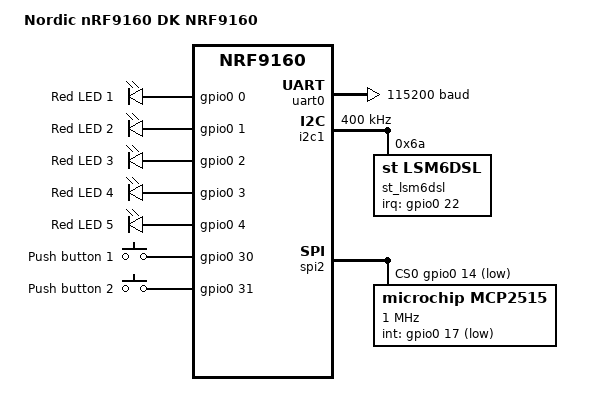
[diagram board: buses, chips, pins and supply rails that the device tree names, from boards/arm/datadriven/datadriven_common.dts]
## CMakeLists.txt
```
#
# Copyright (c) 2019 Nordic Semiconductor
#
# SPDX-License-Identifier: LicenseRef-Nordic-5-Clause
#

cmake_minimum_required(VERSION 3.20.0)

find_package(Zephyr REQUIRED HINTS $ENV{ZEPHYR_BASE})
project(datadriven_tracker)

target_sources(app PRIVATE src/main.c)
```

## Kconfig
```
menu "DataDriven Tracker"

config GNSS_PERIODIC_INTERVAL
	int "Fix interval for periodic GPS fixes"
	range 10 65535
	default 120
	help
	  Fix interval (in seconds) for periodic fixes.

config GNSS_PERIODIC_TIMEOUT
	int "Fix timeout for periodic GPS fixes"
	range 0 65535
	default 480
	help
	  Fix timeout (in seconds) for periodic fixes.
	  If set to zero, GNSS is allowed to run indefinitely until a valid PVT estimate is produced.

endmenu

menu "Zephyr Kernel"
source "Kconfig.zephyr"
endmenu
```

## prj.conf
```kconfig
# Logging
CONFIG_LOG=y
# CONFIG_LOG_MODE_IMMEDIATE=y

# Button and LED support
CONFIG_DK_LIBRARY=y

# Newlib
CONFIG_NEWLIB_LIBC=y
# STEP 2.2 - Enable printing of floating-points
CONFIG_NEWLIB_LIBC_FLOAT_PRINTF=y
CONFIG_FPU=y

# Network
CONFIG_NETWORKING=y
CONFIG_NET_NATIVE=n
CONFIG_NET_SOCKETS=y
CONFIG_NET_SOCKETS_OFFLOAD=y
CONFIG_NET_SOCKETS_POSIX_NAMES=y

# Memory
CONFIG_HEAP_MEM_POOL_SIZE=4096
CONFIG_MAIN_STACK_SIZE=4096

# Modem library
CONFIG_NRF_MODEM_LIB=y

# LTE link control
CONFIG_LTE_LINK_CONTROL=y
CONFIG_LTE_AUTO_INIT_AND_CONNECT=n
CONFIG_LTE_NETWORK_MODE_LTE_M_NBIOT_GPS=y
# STEP 7.1 - Request eDRX from the network
CONFIG_LTE_EDRX_REQ=y
# STEP 7.2 - Request PSM periodic TAU and active time
CONFIG_LTE_PSM_REQ_RPTAU="00101000"
CONFIG_LTE_PSM_REQ_RAT="00001000"

CONFIG_GNSS_PERIODIC_INTERVAL=10

CONFIG_SPI=y
CONFIG_CAN=y
CONFIG_CAN_INIT_PRIORITY=80
CONFIG_CAN_MAX_FILTER=5
CONFIG_CAN_MCP2515=y

CONFIG_I2C=y
CONFIG_SENSOR=y
CONFIG_LSM6DSL=y
```

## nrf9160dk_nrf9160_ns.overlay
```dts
// To get started, press Ctrl+Space to bring up the completion menu and view the available nodes.

// You can also use the buttons in the sidebar to perform actions on nodes.
// Actions currently available include:

// * Enabling / disabling the node
// * Adding the bus to a bus
// * Removing the node
// * Connecting ADC channels

// For more help, browse the DeviceTree documentation at https://docs.zephyrproject.org/latest/guides/dts/index.html
// You can also visit the nRF DeviceTree extension documentation at https://nrfconnect.github.io/vscode-nrf-connect/devicetree/nrfdevicetree.html
// ARDUINO SPI USES SPI3
// SCK P0.13
// MISO P0.12
// MOSI P0.11
// CS P0.10
// INT P0.16
&i2c3 {
	status = "disabled";
};
&uart3 {
	status = "disabled";
};
&spi3 {
	status = "okay";
};
&arduino_spi {
	status = "okay";
	cs-gpios = <&gpio0 10 GPIO_ACTIVE_LOW>;  /* P0.10 */

	mcp2515: can@0 {
		compatible = "microchip,mcp2515";
		spi-max-frequency = <1000000>;
		int-gpios = <&gpio0 16 GPIO_ACTIVE_LOW>; /* P0.16 */
		status = "okay";
		reg = <0x0>;
		osc-freq = <16000000>;
		bus-speed = <500000>;
		sjw = <1>;
		sample-point = <875>;

		can-transceiver {
			max-bitrate = <1000000>;
		};
	};
};

// ARDUINO I2C USES I2C2
// SDA P0.30
// SCL P0.31
// INT P0.17
&uart2 {
	status = "disabled";
};
&spi2 {
	status = "disabled";
};
&i2c2 {
	status = "okay";
};
&arduino_i2c {
	status = "okay";
	mpu6050: mpu6050@68 {
		compatible = "invensense,mpu6050";
		reg = <0x68>;
		status = "okay";
		int-gpios = <&gpio0 17 GPIO_ACTIVE_HIGH>;
	};
};
/ {
	chosen {
		zephyr,canbus = &mcp2515;
		zephyr,mpu6050 = &mpu6050;
	};
};
```

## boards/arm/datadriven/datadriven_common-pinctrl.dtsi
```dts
/*
 * Copyright (c) 2022 Nordic Semiconductor
 * SPDX-License-Identifier: Apache-2.0
 */

&pinctrl {
	uart0_default: uart0_default {
		group1 {
			psels = <NRF_PSEL(UART_TX, 0, 28)>,
				<NRF_PSEL(UART_RTS, 0, 27)>;
		};
		group2 {
			psels = <NRF_PSEL(UART_RX, 0, 29)>,
				<NRF_PSEL(UART_CTS, 0, 26)>;
			bias-pull-up;
		};
	};
	uart0_sleep: uart0_sleep {
		group1 {
			psels = <NRF_PSEL(UART_TX, 0, 28)>,
				<NRF_PSEL(UART_RX, 0, 29)>,
				<NRF_PSEL(UART_RTS, 0, 27)>,
				<NRF_PSEL(UART_CTS, 0, 26)>;
			low-power-enable;
		};
	};

	i2c1_default: i2c1_default {
		group1 {
			psels = <NRF_PSEL(TWIM_SDA, 0, 24)>,
				<NRF_PSEL(TWIM_SCL, 0, 23)>;
		};
	};

	i2c1_sleep: i2c1_sleep {
		group1 {
			psels = <NRF_PSEL(TWIM_SDA, 0, 24)>,
				<NRF_PSEL(TWIM_SCL, 0, 23)>;
			low-power-enable;
		};
	};

	spi2_default: spi2_default {
		group1 {
			psels = <NRF_PSEL(SPIM_SCK, 0, 13)>,
				<NRF_PSEL(SPIM_MISO, 0, 16)>,
				<NRF_PSEL(SPIM_MOSI, 0, 15)>;
		};
	};

	spi2_sleep: spi2_sleep {
		group1 {
			psels = <NRF_PSEL(SPIM_SCK, 0, 13)>,
				<NRF_PSEL(SPIM_MISO, 0, 16)>,
				<NRF_PSEL(SPIM_MOSI, 0, 15)>;
			low-power-enable;
		};
	};
};
```

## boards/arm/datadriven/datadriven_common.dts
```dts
/*
 * Copyright (c) 2018-2020 Nordic Semiconductor ASA
 *
 * SPDX-License-Identifier: Apache-2.0
 */
#include "datadriven_common-pinctrl.dtsi"

/ {
	model = "Nordic nRF9160 DK NRF9160";
	compatible = "nordic,nrf9160-dk-nrf9160";

	chosen {
		zephyr,console = &uart0;
		zephyr,shell-uart = &uart0;
		zephyr,uart-mcumgr = &uart0;
		zephyr,canbus = &mcp2515;
		zephyr,imu = &st_lsm6dsl;
	};

	leds {
		compatible = "gpio-leds";
		led0: led_0 {
			gpios = <&gpio0 0 0>;
			label = "Red LED 1";
		};
		led1: led_1 {
			gpios = <&gpio0 1 0>;
			label = "Red LED 2";
		};
		led2: led_2 {
			gpios = <&gpio0 2 0>;
			label = "Red LED 3";
		};
		led3: led_3 {
			gpios = <&gpio0 3 0>;
			label = "Red LED 4";
		};
		led4: led_4 {
			gpios = <&gpio0 4 0>;
			label = "Red LED 5";
		};
	};

	buttons {
		compatible = "gpio-keys";
		button0: button_0 {
			gpios = <&gpio0 30 (GPIO_PULL_DOWN | GPIO_ACTIVE_HIGH)>;
			label = "Push button 1";
		};
		button1: button_1 {
			gpios = <&gpio0 31 (GPIO_PULL_DOWN | GPIO_ACTIVE_HIGH)>;
			label = "Push button 2";
		};
	};

	aliases {
		led0 = &led0;
		led1 = &led1;
		led2 = &led2;
		led3 = &led3;
		led4 = &led4;
		sw0 = &button0;
		sw1 = &button1;
		bootloader-led0 = &led0;
		mcuboot-button0 = &button0;
		mcuboot-led0 = &led0;
		watchdog0 = &wdt0;
	};
};

&gpiote {
	status = "okay";
};

&gpio0 {
	status = "okay";
};

&uart0 {
	status = "okay";
	current-speed = <115200>;
	pinctrl-0 = <&uart0_default>;
	pinctrl-1 = <&uart0_sleep>;
	pinctrl-names = "default", "sleep";
};

&i2c1 {
	compatible = "nordic,nrf-twim";
	status = "okay";
	pinctrl-0 = <&i2c1_default>;
	pinctrl-1 = <&i2c1_sleep>;
	pinctrl-names = "default", "sleep";
	clock-frequency = < I2C_BITRATE_FAST >;
	st_lsm6dsl: st_lsm6dsl@6a {
		compatible = "st,lsm6dsl";
		reg = <0x6a>;
		irq-gpios = <&gpio0 22 GPIO_ACTIVE_HIGH>;
	};
};

&spi2 {
	compatible = "nordic,nrf-spim";
	status = "okay";
	cs-gpios = <&gpio0 14 GPIO_ACTIVE_LOW>;
	pinctrl-0 = <&spi2_default>;
	pinctrl-1 = <&spi2_sleep>;
	pinctrl-names = "default", "sleep";

	mcp2515: can@0 {
		compatible = "microchip,mcp2515";
		spi-max-frequency = <1000000>;
		int-gpios = <&gpio0 17 GPIO_ACTIVE_LOW>;
		status = "okay";
		reg = <0x0>;
		osc-freq = <8000000>;
		bus-speed = <500000>;
		sjw = <1>;
		sample-point = <875>;

		can-transceiver {
			max-bitrate = <1000000>;
		};
	};
};

// &timer0 {
// 	status = "okay";
// };

// &timer1 {
// 	status = "okay";
// };

// &timer2 {
// 	status = "okay";
// };

&flash0 {

	partitions {
		compatible = "fixed-partitions";
		#address-cells = <1>;
		#size-cells = <1>;

		boot_partition: partition@0 {
			label = "mcuboot";
			reg = <0x00000000 0x10000>;
		};
		slot0_partition: partition@10000 {
			label = "image-0";
		};
		slot0_ns_partition: partition@50000 {
			label = "image-0-nonsecure";
		};
		slot1_partition: partition@80000 {
			label = "image-1";
		};
		slot1_ns_partition: partition@c0000 {
			label = "image-1-nonsecure";
		};
		scratch_partition: partition@f0000 {
			label = "image-scratch";
			reg = <0x000f0000 0xa000>;
		};
		storage_partition: partition@fa000 {
			label = "storage";
			reg = <0x000fa000 0x00006000>;
		};
	};
};

/ {

	reserved-memory {
		#address-cells = <1>;
		#size-cells = <1>;
		ranges;

		sram0_s: image_s@20000000 {
			/* Secure image memory */
		};

		sram0_modem: image_modem@20016000 {
			/* Modem (shared) memory */
		};

		sram0_ns: image_ns@20020000 {
			/* Non-Secure image memory */
		};
	};
};

/* Include partition configuration file */
#include "datadriven_partition_conf.dts"
```

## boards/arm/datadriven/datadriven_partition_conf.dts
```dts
/*
 * Copyright (c) 2018-2020 Nordic Semiconductor ASA
 *
 * SPDX-License-Identifier: Apache-2.0
 */

/*
 * Default Flash planning for datadriven.
 *
 * Zephyr build for nRF9160 with ARM TrustZone-M support,
 * implies building Secure and Non-Secure Zephyr images.
 *
 * Secure image will be placed, by default, in flash0
 * (or in slot0, if MCUboot is present).
 * Secure image will use sram0 for system memory.
 *
 * Non-Secure image will be placed in slot0_ns, and use
 * sram0_ns for system memory.
 *
 * Note that the Secure image only requires knowledge of
 * the beginning of the Non-Secure image (not its size).
 */

&slot0_partition {
	reg = <0x00010000 0x40000>;
};

&slot0_ns_partition {
	reg = <0x00050000 0x30000>;
};

&slot1_partition {
	reg = <0x00080000 0x40000>;
};

&slot1_ns_partition {
	reg = <0x000c0000 0x30000>;
};

/* Default SRAM planning when building for nRF9160 with
 * ARM TrustZone-M support
 * - Lowest 88 kB SRAM allocated to Secure image (sram0_s).
 * - 40 kB SRAM reserved for and used by the modem library
 *   (sram0_modem). This memory is Non-Secure.
 * - Upper 128 kB allocated to Non-Secure image (sram0_ns).
 *   When building with TF-M, both sram0_modem and sram0_ns
 *   are allocated to the Non-Secure image.
 */

&sram0_s {
	reg = <0x20000000 DT_SIZE_K(88)>;
};

&sram0_modem {
	reg = <0x20016000 DT_SIZE_K(40)>;
};

&sram0_ns {
	reg = <0x20020000 DT_SIZE_K(128)>;
};
```

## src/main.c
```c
/*
 * Copyright (c) 2022 Nordic Semiconductor ASA
 *
 * SPDX-License-Identifier: LicenseRef-Nordic-5-Clause
 */

#include <stdio.h>
#include <zephyr/kernel.h>
#include <zephyr/net/socket.h>

#include <zephyr/logging/log.h>
#include <modem/lte_lc.h>
#include <nrf_modem_gnss.h>

#define SERVER_HOSTNAME "api.datadrivenucsb.com"
#define SERVER_PORT "65432"

static struct nrf_modem_gnss_pvt_data_frame pvt_data;

static int64_t gnss_start_time;
static bool first_fix = false;

static int sock;
static struct sockaddr_storage server;

static K_SEM_DEFINE(lte_connected, 0, 1);

LOG_MODULE_REGISTER(DataDriven, LOG_LEVEL_ERR);

#include "functions.h"

static K_SEM_DEFINE(gnss_ready, 0, 1);


static uint8_t udp_data[512];
static uint16_t current_msg_size = 0;

static uint8_t gnss_data[100];
static uint16_t gnss_size = 0;

static uint8_t vehicle_data[512];
static uint16_t vehicle_size = 0;

static int server_resolve(void)
{
	int err;
	struct addrinfo *result;
	struct addrinfo hints = {
		.ai_family = AF_INET,
		.ai_socktype = SOCK_DGRAM
	};
	
	err = getaddrinfo(SERVER_HOSTNAME, SERVER_PORT, &hints, &result);
	if (err != 0) {
		LOG_INF("ERROR: getaddrinfo failed %d", err);
		return -EIO;
	}

	if (result == NULL) {
		LOG_INF("ERROR: Address not found");
		return -ENOENT;
	}

	struct sockaddr_in *server4 = ((struct sockaddr_in *)&server);

	server4->sin_addr.s_addr = ((struct sockaddr_in *)result->ai_addr)->sin_addr.s_addr;
	server4->sin_family = AF_INET;
	server4->sin_port = ((struct sockaddr_in *)result->ai_addr)->sin_port;
	
	char ipv4_addr[NET_IPV4_ADDR_LEN];
	inet_ntop(AF_INET, &server4->sin_addr.s_addr, ipv4_addr, sizeof(ipv4_addr));
	LOG_INF("IPv4 Address found %s", ipv4_addr);
	
	freeaddrinfo(result);

	return 0;
}

static int server_connect(void)
{
	int err;
	sock = socket(AF_INET, SOCK_DGRAM, IPPROTO_UDP);
	if (sock < 0) {
		LOG_ERR("Failed to create socket: %d.", errno);
		return -errno;
	}

	err = connect(sock, (struct sockaddr *)&server, sizeof(struct sockaddr_in));
	if (err < 0) {
		LOG_ERR("Connect failed : %d", errno);
		return -errno;
	}
	LOG_INF("Successfully connected to server");

	return 0;
}

static void lte_handler(const struct lte_lc_evt *const evt)
{
	switch (evt->type) {
	case LTE_LC_EVT_NW_REG_STATUS:
		if ((evt->nw_reg_status != LTE_LC_NW_REG_REGISTERED_HOME) &&
			(evt->nw_reg_status != LTE_LC_NW_REG_REGISTERED_ROAMING)) {
			break;
		}
		LOG_INF("Network registration status: %s", evt->nw_reg_status == LTE_LC_NW_REG_REGISTERED_HOME ? "Connected - home network" : "Connected - roaming");
		k_sem_give(&lte_connected);
		break;	
	case LTE_LC_EVT_RRC_UPDATE:
		LOG_INF("RRC mode: %s",  evt->rrc_mode == LTE_LC_RRC_MODE_CONNECTED ? "Connected" : "Idle");
		break;
	/* STEP 9.1 - On event PSM update, print PSM paramters and check if was enabled */
	case LTE_LC_EVT_PSM_UPDATE:
		LOG_INF("PSM parameter update: Periodic TAU: %d s, Active time: %d s", evt->psm_cfg.tau, evt->psm_cfg.active_time);
		if (evt->psm_cfg.active_time == -1){
			LOG_ERR("Network rejected PSM parameters. Failed to setup network");
		}
		break;
	/* STEP 9.2 - On event eDRX update, print eDRX paramters */
	case LTE_LC_EVT_EDRX_UPDATE:
		LOG_INF("eDRX parameter update: eDRX: %f, PTW: %f", evt->edrx_cfg.edrx, evt->edrx_cfg.ptw);
		break;
	default:
		break;
	}
}

static void modem_configure(void)
{
	int err;
	
	/* STEP 8 - Request PSM and eDRX from the network */
	err = lte_lc_psm_req(true);
	if (err) {
		LOG_ERR("lte_lc_psm_req, error: %d", err);
	} 
	err = lte_lc_edrx_req(true);
	if (err) {
		LOG_ERR("lte_lc_edrx_req, error: %d", err);
	}

	LOG_INF("Connecting to LTE network");

	err = lte_lc_init_and_connect_async(lte_handler);
	if (err) {
		LOG_ERR("Modem could not be configured, error: %d", err);
		return;
	}
	k_sem_take(&lte_connected, K_FOREVER);
	LOG_INF("Connected to LTE network");
}

static void print_fix_data(struct nrf_modem_gnss_pvt_data_frame *pvt_data)
{
	LOG_INF("Latitude:       %.06f", pvt_data->latitude);
	LOG_INF("Longitude:      %.06f", pvt_data->longitude);
	LOG_INF("Altitude:       %.01f m", pvt_data->altitude);
	LOG_INF("Time (UTC):     %02u:%02u:%02u.%03u",
	       pvt_data->datetime.hour,
	       pvt_data->datetime.minute,
	       pvt_data->datetime.seconds,
	       pvt_data->datetime.ms);
	
	
	union {
		double d;
		uint8_t b[8];
	} lat, lon;

	union {
		float f;
		uint8_t b[4];
	} alt, speed, vertical_speed, heading;

	lat.d = pvt_data->latitude;
	lon.d = pvt_data->longitude;
	alt.f = pvt_data->altitude;
	speed.f = pvt_data->speed;
	vertical_speed.f = pvt_data->vertical_speed;
	heading.f = pvt_data->heading;
	
	/* STEP 3.2 - Store latitude and longitude in gnss_data buffer */
	snprintf(gnss_data, sizeof(gnss_data), "%s %s %04u-%02u-%02u %02u:%02u:%02u ",
													system_state.VIN, system_state.IMEI,
													pvt_data->datetime.year, pvt_data->datetime.month, pvt_data->datetime.day,
													pvt_data->datetime.hour, pvt_data->datetime.minute, pvt_data->datetime.seconds);
	gnss_size = strlen(gnss_data);
	memcpy(gnss_data + gnss_size, lat.b, 8);
	gnss_size += 8;
	memcpy(gnss_data + gnss_size, lon.b, 8);
	gnss_size += 8;
	memcpy(gnss_data + gnss_size, alt.b, 4);
	gnss_size += 4;
	memcpy(gnss_data + gnss_size, speed.b, 4);
	gnss_size += 4;
	memcpy(gnss_data + gnss_size, vertical_speed.b, 4);
	gnss_size += 4;
	memcpy(gnss_data + gnss_size, heading.b, 4);
	gnss_size += 4;
}

static void gnss_event_handler(int event)
{
	int err, num_satellites;

	switch (event) {
	case NRF_MODEM_GNSS_EVT_PVT:
		num_satellites = 0;
		for (int i = 0; i < 12 ; i++) {
			if (pvt_data.sv[i].signal != 0) {
				num_satellites++;
			}	
		}
		if (!first_fix) {
			printk("[%2.1lld s] Searching. Current satellites: %d\n", (k_uptime_get())/1000, num_satellites);
		}
		err = nrf_modem_gnss_read(&pvt_data, sizeof(pvt_data), NRF_MODEM_GNSS_DATA_PVT);
		if (err) {
			LOG_ERR("nrf_modem_gnss_read failed, err %d", err);
			return;
		}
		if (pvt_data.flags & NRF_MODEM_GNSS_PVT_FLAG_FIX_VALID) {
			print_fix_data(&pvt_data);
			if (!first_fix) {
				printk("Time to first fix: %2.1lld s\n", (k_uptime_get() - gnss_start_time)/1000);
				first_fix = true;
			}
			return;
		} 
		/* STEP 5 - Check for the flags indicating GNSS is blocked */		
		if (pvt_data.flags & NRF_MODEM_GNSS_PVT_FLAG_DEADLINE_MISSED) {
			LOG_INF("GNSS blocked by LTE activity");
		} else if (pvt_data.flags & NRF_MODEM_GNSS_PVT_FLAG_NOT_ENOUGH_WINDOW_TIME) {
			LOG_INF("Insufficient GNSS time windows");
		}
		break;

	case NRF_MODEM_GNSS_EVT_PERIODIC_WAKEUP:
		LOG_INF("GNSS has woken up");
		gpio_pin_set_dt(&system_state.leds[0], 1);
		break;
	case NRF_MODEM_GNSS_EVT_SLEEP_AFTER_FIX:
		LOG_INF("GNSS enter sleep after fix");
		k_sem_give(&gnss_ready);
		gpio_pin_set_dt(&system_state.leds[0], 0);
		break;		
	default:
		break;
	}
}

static int gnss_init_and_start(void)
{
	gpio_pin_set_dt(&system_state.leds[0], 1);
	/* STEP 4 - Set the modem mode to normal */
	if (lte_lc_func_mode_set(LTE_LC_FUNC_MODE_NORMAL) != 0) {
		LOG_ERR("Failed to activate GNSS functional mode");
		return -1;
	}

	if (nrf_modem_gnss_event_handler_set(gnss_event_handler) != 0) {
		LOG_ERR("Failed to set GNSS event handler");
		return -1;
	}

	if (nrf_modem_gnss_fix_interval_set(CONFIG_GNSS_PERIODIC_INTERVAL) != 0) {
		LOG_ERR("Failed to set GNSS fix interval");
		return -1;
	}

	if (nrf_modem_gnss_fix_retry_set(CONFIG_GNSS_PERIODIC_TIMEOUT) != 0) {
		LOG_ERR("Failed to set GNSS fix retry");
		return -1;
	}

	LOG_INF("Starting GNSS");
	if (nrf_modem_gnss_start() != 0) {
		LOG_ERR("Failed to start GNSS");
		return -1;
	}

	gnss_start_time = k_uptime_get();

	return 0;
}

void main(void)
{
	modem_configure();
	setup_GPIO();
	get_ID();

	if (server_resolve() != 0) {
		LOG_INF("Failed to resolve server name");
		return;
	}
	
	if (server_connect() != 0) {
		LOG_INF("Failed to initialize client");
		return;
	}

	if (gnss_init_and_start() != 0) {
		LOG_ERR("Failed to initialize and start GNSS");
		return;
	}

	int can_ret;
	obd_state.PID_supported[0x00] = BOTH;
	obd_state.standard_frame.data[0] = 0x02;
	obd_state.standard_frame.data[1] = 0x01;
	obd_state.extended_frame.data[0] = 0x02;
	obd_state.extended_frame.data[1] = 0x01;
	for (uint8_t checkPID = 0x00; checkPID < 0xFF && obd_state.PID_supported[checkPID] != UNSUPPORTED; checkPID += 0x20)
	{
		if ((obd_state.PID_supported[checkPID] & STANDARD) == STANDARD) {
			obd_state.standard_frame.data[2] = checkPID;
			can_ret = can_send(obd_state.device, &obd_state.standard_frame, K_MSEC(500), can_tx_callback, "Requesting Standard PID");
		}
		if ((obd_state.PID_supported[checkPID] & EXTENDED) == EXTENDED) {
			obd_state.extended_frame.data[2] = checkPID;
			can_ret = can_send(obd_state.device, &obd_state.extended_frame, K_MSEC(500), can_tx_callback, "Requesting Extended PID");
		}
		while ((can_ret = k_msgq_get(&obd_msgq, &obd_state.response_frame, K_MSEC(100))) == 0) { // can reduce K_MSEC() to very low, NO_WAIT is too fast
			for (int i = 0; i < 8; i++)
			{
				if (obd_state.response_frame.data[3] & (1 << i))
				{
					obd_state.PID_supported[checkPID + (8 - i)] |=  ((obd_state.response_frame.flags & CAN_FRAME_IDE) == CAN_FRAME_IDE) ? EXTENDED : STANDARD;
				}
				if (obd_state.response_frame.data[4] & (1 << i))
				{
					obd_state.PID_supported[checkPID + (16 - i)] |= ((obd_state.response_frame.flags & CAN_FRAME_IDE) == CAN_FRAME_IDE) ? EXTENDED : STANDARD;
				}
				if (obd_state.response_frame.data[5] & (1 << i))
				{
					obd_state.PID_supported[checkPID + (24 - i)] |= ((obd_state.response_frame.flags & CAN_FRAME_IDE) == CAN_FRAME_IDE) ? EXTENDED : STANDARD;
				}
				if (obd_state.response_frame.data[6] & (1 << i))
				{
					obd_state.PID_supported[checkPID + (32 - i)] |= ((obd_state.response_frame.flags & CAN_FRAME_IDE) == CAN_FRAME_IDE) ? EXTENDED : STANDARD;
				}
			}
		}
	}
	printf("PIDs Available:");
	for (int i = 0; i < 256; i++)
	{
		if (obd_state.PID_supported[i] != UNSUPPORTED)
		{
			printf(" %02X,", i);
		}
	}
	printf("\n");

	while (true) {
		if (k_sem_take(&gnss_ready, K_NO_WAIT) == 0) {
			memcpy(udp_data, gnss_data, gnss_size);
			current_msg_size = gnss_size;
			gpio_pin_set_dt(&system_state.leds[1], 1);
			memcpy(udp_data + current_msg_size, vehicle_data, vehicle_size);
			current_msg_size += vehicle_size;

			int err = send(sock, &udp_data, current_msg_size, 0);
			if (err < 0) {
				LOG_INF("Failed to send message, %d", errno);
				return;
			} else {
				printk("[%2.1lld s] Data (%d bytes) sent to %s:%s\n", (k_uptime_get())/1000, current_msg_size, SERVER_HOSTNAME, SERVER_PORT);
			}
			gpio_pin_set_dt(&system_state.leds[1], 0);
		} else {
			gpio_pin_set_dt(&system_state.leds[2], 1);
			vehicle_size = 0;
			// get IMU data
			sensor_sample_fetch_chan(imu_state.device, SENSOR_CHAN_ACCEL_XYZ);
			sensor_channel_get(imu_state.device, SENSOR_CHAN_ACCEL_X, &imu_state.raw_accel_x);
			sensor_channel_get(imu_state.device, SENSOR_CHAN_ACCEL_Y, &imu_state.raw_accel_y);
			sensor_channel_get(imu_state.device, SENSOR_CHAN_ACCEL_Z, &imu_state.raw_accel_z);

			sensor_sample_fetch_chan(imu_state.device, SENSOR_CHAN_GYRO_XYZ);
			sensor_channel_get(imu_state.device, SENSOR_CHAN_GYRO_X, &imu_state.raw_gyro_x);
			sensor_channel_get(imu_state.device, SENSOR_CHAN_GYRO_Y, &imu_state.raw_gyro_y);
			sensor_channel_get(imu_state.device, SENSOR_CHAN_GYRO_Z, &imu_state.raw_gyro_z);
			imu_state.accel_x.f = out_ev(&imu_state.raw_accel_x);
			imu_state.accel_y.f = out_ev(&imu_state.raw_accel_y);
			imu_state.accel_z.f = out_ev(&imu_state.raw_accel_z);
			imu_state.gyro_x.f = out_ev(&imu_state.raw_gyro_x);
			imu_state.gyro_y.f = out_ev(&imu_state.raw_gyro_y);
			imu_state.gyro_z.f = out_ev(&imu_state.raw_gyro_z);

			memcpy(vehicle_data + vehicle_size, imu_state.accel_x.b, 4);
			vehicle_size += 4;
			memcpy(vehicle_data + vehicle_size, imu_state.accel_y.b, 4);
			vehicle_size += 4;
			memcpy(vehicle_data + vehicle_size, imu_state.accel_z.b, 4);
			vehicle_size += 4;
			memcpy(vehicle_data + vehicle_size, imu_state.gyro_x.b, 4);
			vehicle_size += 4;
			memcpy(vehicle_data + vehicle_size, imu_state.gyro_y.b, 4);
			vehicle_size += 4;
			memcpy(vehicle_data + vehicle_size, imu_state.gyro_z.b, 4);
			vehicle_size += 4;

			// get vehicle data
			// printf("BEGIN VEHICLE DATA FETCH\n");
			for (uint8_t currentPID = 0x00; currentPID < 0xFF; currentPID++) {
				if (currentPID % 0x20 == 0) {
					continue;
				}
				if ((obd_state.PID_supported[currentPID] & STANDARD) == STANDARD) {
					obd_state.standard_frame.data[2] = currentPID;
					can_send(obd_state.device, &obd_state.standard_frame, K_MSEC(500), can_tx_callback, "Standard frame");
				}
				if ((obd_state.PID_supported[currentPID] & EXTENDED) == EXTENDED) {
					obd_state.extended_frame.data[2] = currentPID;
					can_send(obd_state.device, &obd_state.extended_frame, K_MSEC(500), can_tx_callback, "Extended frame");
				}
				if (obd_state.PID_supported[currentPID] != UNSUPPORTED) {
					// printf("\tRequested PID %02X\tResponse:", currentPID);
					int MFL = 0; // for multi frames
					while ((can_ret = k_msgq_get(&obd_msgq, &obd_state.response_frame, K_MSEC(500))) == 0) {
						if ((obd_state.response_frame.data[0] & 0x10) == 0x10) { // First Frame
							if ((obd_state.response_frame.flags & CAN_FRAME_IDE) == CAN_FRAME_IDE)
							{
								obd_state.extended_frame_flow.id = (obd_state.response_frame.id & 0xFFFF0000) |
													((obd_state.response_frame.id & 0xFF) << 8) |
													((obd_state.response_frame.id & 0xFF00) >> 8);
								can_ret = can_send(obd_state.device, &obd_state.extended_frame_flow, K_MSEC(100), can_tx_callback, "Sending Flow Control through Extended");
							}
							else
							{
								obd_state.standard_frame_flow.id = obd_state.response_frame.id - 8;
								can_ret = can_send(obd_state.device, &obd_state.standard_frame_flow, K_MSEC(100), can_tx_callback, "Sending Flow Control through Standard");
							}
							// MFL = (obd_state.response_frame.data[0] & 0xF) << 8 | obd_state.response_frame.data[1];
							MFL = obd_state.response_frame.data[1];
							// printf(" %02X", MFL);
							udp_data[current_msg_size] = MFL;
							current_msg_size++;
							// for (int i = 2; i < 8; i++) {
							// 	printf(" %02X", obd_state.response_frame.data[i]);
							// }
							memcpy(vehicle_data + vehicle_size, obd_state.response_frame.data + 2, 6);
							vehicle_size += 6;
							MFL -= 6;
						}
						else if ((obd_state.response_frame.data[0] & 0x20) == 0x20) { // consecutive frames
							int bytesToGet = Z_MIN(MFL, 7);
							// for (int i = 1; i < bytesToGet + 1; i++) {
							// 	printf(" %02X", obd_state.response_frame.data[i]);
							// }
							memcpy(vehicle_data + vehicle_size, obd_state.response_frame.data + 1, bytesToGet);
							vehicle_size += bytesToGet;
							MFL -= bytesToGet;
						}
						else {
							// for (int i = 0; i < obd_state.response_frame.data[0] + 1; i++) { // standard single frame
							// 	printf(" %02X", obd_state.response_frame.data[i]);
							// }
							memcpy(vehicle_data + vehicle_size, obd_state.response_frame.data, obd_state.response_frame.data[0] + 1);
							vehicle_size += obd_state.response_frame.data[0] + 1;
						}
					}
					// printf("\n");
				}
			}
			// printf("END VEHICLE DATA FETCH\n");
			gpio_pin_set_dt(&system_state.leds[2], 0);
		}
	}
	(void)close(sock);
}
```

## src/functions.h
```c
#include "structures.h"
#include <nrf_modem_at.h>

static inline float out_ev(struct sensor_value *val)
{
	return (val->val1 + (float)val->val2 / 1000000);
}

static void setup_GPIO(void)
{
	int ret;
	for (size_t i = 0; i < 5; i++)
	{
		if (!device_is_ready(system_state.leds[i].port)) {
			return;
		}
		ret = gpio_pin_configure_dt(&system_state.leds[i], GPIO_OUTPUT_ACTIVE);
		if (ret < 0) {
			return;
		}
		ret = gpio_pin_set_dt(&system_state.leds[i], 0);
		if (ret < 0) {
			return;
		}
	}

	for (size_t i = 0; i < 2; i++)
	{

		if (!device_is_ready(system_state.buttons[i].port)) {
			return;
		}
		ret = gpio_pin_configure_dt(&system_state.buttons[i], GPIO_INPUT);
		if (ret < 0) {
			return;
		}
	}
	int can_filter_id;
	const struct can_filter can_extended_filter = { // catch all standard AND extended data frames
		.flags = CAN_FILTER_DATA | CAN_FILTER_IDE,
		.id = 0x18000000,
		.mask = 0x1F000000 // for Brian's car since it floods bus
	};
	const struct can_filter can_standard_filter = { // catch all standard AND extended data frames
		.flags = CAN_FILTER_DATA,
		.id = 0,
		.mask = 0
	};
	if (!device_is_ready(obd_state.device)) {
		LOG_ERR("[FAIL] CAN: Device %s not ready.", obd_state.device->name);
	}
	else
	{
		LOG_INF("[SUCCESS] CAN Device %s is ready.", obd_state.device->name);
	}

	can_filter_id = can_add_rx_filter_msgq(obd_state.device, &obd_msgq, &can_standard_filter);
	LOG_INF("OBD standard filter id: %d", can_filter_id);
	can_filter_id = can_add_rx_filter_msgq(obd_state.device, &obd_msgq, &can_extended_filter);
	LOG_INF("OBD extended filter id: %d", can_filter_id);

	ret = can_start(obd_state.device);
	if (ret != 0) {
		LOG_ERR("[FAIL] Error starting CAN controller [%d]", ret);
	}
	else {
		LOG_INF("[SUCCCESS] Started CAN controller");
	}

	if (!device_is_ready(imu_state.device)) {
		LOG_ERR("[FAIL] IMU: Device %s not ready.", imu_state.device->name);
	}
	else {
		LOG_INF("[SUCCESS] IMU Device %s is ready.", imu_state.device->name);
	}

	struct sensor_value odr_attr;
	/* set accel/gyro sampling frequency to 104 Hz */
	odr_attr.val1 = 104;
	odr_attr.val2 = 0;

	if (sensor_attr_set(imu_state.device, SENSOR_CHAN_ACCEL_XYZ, SENSOR_ATTR_SAMPLING_FREQUENCY, &odr_attr) < 0) {
		printk("Cannot set sampling frequency for accelerometer.\n");
		return;
	}

	if (sensor_attr_set(imu_state.device, SENSOR_CHAN_GYRO_XYZ, SENSOR_ATTR_SAMPLING_FREQUENCY, &odr_attr) < 0) {
		printk("Cannot set sampling frequency for gyro.\n");
		return;
	}

	if (sensor_sample_fetch(imu_state.device) < 0) {
		printk("Sensor sample update error\n");
		return;
	}
}

static void can_tx_callback(const struct device *dev, int error, void *arg)
{
	gpio_pin_toggle_dt(&system_state.leds[0]);
	char *sender = (char *)arg;

	ARG_UNUSED(dev);

	if (error != 0) {
		printf("Callback! error-code: %d\nSender: %s\n",
			error, sender);
	}
}

static void get_ID(void) {
	char response[64];
	int err;
	bool foundVIN = false;
	obd_state.standard_frame.data[0] = 0x02;
	obd_state.standard_frame.data[1] = 0x09;
	obd_state.standard_frame.data[2] = 0x02;
	obd_state.extended_frame.data[0] = 0x02;
	obd_state.extended_frame.data[1] = 0x09;
	obd_state.extended_frame.data[2] = 0x02;

	gpio_pin_set_dt(&system_state.leds[0], 0);

	err = can_send(obd_state.device, &obd_state.standard_frame, K_MSEC(500), can_tx_callback, "Requesting VIN through Standard");
	if (err == 0 && k_msgq_get(&obd_msgq, &obd_state.response_frame, K_MSEC(500)) == 0) {
		gpio_pin_toggle_dt(&system_state.leds[0]);
		foundVIN = true;
		obd_state.standard_frame_flow.id = obd_state.response_frame.id - 8;
		err = can_send(obd_state.device, &obd_state.standard_frame_flow, K_MSEC(100), can_tx_callback, "Sending Flow Control through Standard");
	}
	else
	{
		err = can_send(obd_state.device, &obd_state.extended_frame, K_MSEC(500), can_tx_callback, "Requesting VIN through Extended");
		if (err == 0 && k_msgq_get(&obd_msgq, &obd_state.response_frame, K_MSEC(500)) == 0) {
			gpio_pin_toggle_dt(&system_state.leds[0]);
			foundVIN = true;
			obd_state.extended_frame_flow.id = (obd_state.response_frame.id & 0xFFFF0000) | 
								((obd_state.response_frame.id & 0xFF) << 8) |
								((obd_state.response_frame.id & 0xFF00) >> 8);
			err = can_send(obd_state.device, &obd_state.extended_frame_flow, K_MSEC(100), can_tx_callback, "Sending Flow Control through Extended");
		}
	}
	if (foundVIN)
	{
		memcpy(system_state.VIN, obd_state.response_frame.data + 5, 3);
		err = k_msgq_get(&obd_msgq, &obd_state.response_frame, K_MSEC(500));
		memcpy(system_state.VIN + 3, obd_state.response_frame.data + 1, 7);
		err = k_msgq_get(&obd_msgq, &obd_state.response_frame, K_MSEC(500));
		memcpy(system_state.VIN + 10, obd_state.response_frame.data + 1, 7);
	}
	else {
		LOG_ERR("Failed to read VIN");
		strcpy(system_state.VIN, "_");
	}
	LOG_INF("VIN: %s", system_state.VIN);

	err = nrf_modem_at_cmd(response, sizeof(response), "AT+CGSN=1");
	if (err) {
		LOG_ERR("Failed to read IMEI, err %d", err);
		strcpy(system_state.IMEI, "_");
	}
	else {
		memcpy(system_state.IMEI, response + 8, 15);
	}
	LOG_INF("IMEI: %s", system_state.IMEI);
	gpio_pin_set_dt(&system_state.leds[0], 0);
}
```

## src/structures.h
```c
#include <zephyr/drivers/gpio.h>
#include <zephyr/drivers/can.h>
#include <zephyr/drivers/sensor.h>

struct SYSTEM_STATE {
	const struct gpio_dt_spec leds[5];
	const struct gpio_dt_spec buttons[2];
	uint8_t VIN[20];
	uint8_t IMEI[20];
	uint8_t ID[60];
};

struct OBD_STATE {
	enum {UNSUPPORTED = 0,
			STANDARD = 1,
			EXTENDED = 2,
			BOTH = 3  // 1 | 2 = 3 -> BOTH = STANDARD | EXTENDED
	} PID_supported[256];
	struct can_frame standard_frame;
	struct can_frame standard_frame_flow;
	struct can_frame extended_frame;
	struct can_frame extended_frame_flow;
	struct can_frame response_frame;
	enum can_state current_can_state;
	struct can_bus_err_cnt current_can_error_count;
	const struct device *const device;
};

struct IMU_STATE {
	const struct device *const device;
	struct sensor_value raw_accel_x;
	struct sensor_value raw_accel_y;
	struct sensor_value raw_accel_z;
	struct sensor_value raw_gyro_x;
	struct sensor_value raw_gyro_y;
	struct sensor_value raw_gyro_z;
	union {
		float f;
		uint8_t b[4];
	} accel_x, accel_y, accel_z, gyro_x, gyro_y, gyro_z;

};

static struct SYSTEM_STATE system_state = {
	.leds = {
		GPIO_DT_SPEC_GET(DT_ALIAS(led0), gpios), // CAN TX/RX LED
		GPIO_DT_SPEC_GET(DT_ALIAS(led1), gpios), // IMU LED
		GPIO_DT_SPEC_GET(DT_ALIAS(led2), gpios), // GNSS LED
		GPIO_DT_SPEC_GET(DT_ALIAS(led3), gpios), // UDP LED
		GPIO_DT_SPEC_GET(DT_ALIAS(led4), gpios)  // [TODO] LED
	},
	.buttons = {
		GPIO_DT_SPEC_GET(DT_ALIAS(sw0), gpios),
		GPIO_DT_SPEC_GET(DT_ALIAS(sw1), gpios)
	},
	.VIN = "",
	.IMEI = "",
	.ID = ""
};

static struct OBD_STATE obd_state = {
	.PID_supported = {},
	.standard_frame = {
		.flags = 0,
		.id = 0x7DF, // broadcast address for standard frames
		.dlc = 8,
	},
	.standard_frame_flow = {
		.flags = 0,
		.dlc = 8,
		.data = {0x30, 0x00, 0x00, 0x00, 0x00, 0x00, 0x00, 0x00}
	},
	.extended_frame = {
		.flags = CAN_FRAME_IDE,
		.id = 0x18DB33F1, // broadcast address for extended frames
		.dlc = 8,
	},
	.extended_frame_flow = {
		.flags = CAN_FRAME_IDE,
		.dlc = 8,
		.data = {0x30, 0x00, 0x00, 0x00, 0x00, 0x00, 0x00, 0x00}
	},
	.device = DEVICE_DT_GET(DT_CHOSEN(zephyr_canbus))
};
CAN_MSGQ_DEFINE(obd_msgq, 5);

static struct IMU_STATE imu_state = {
	.device = DEVICE_DT_GET(DT_CHOSEN(zephyr_imu))
};
```
